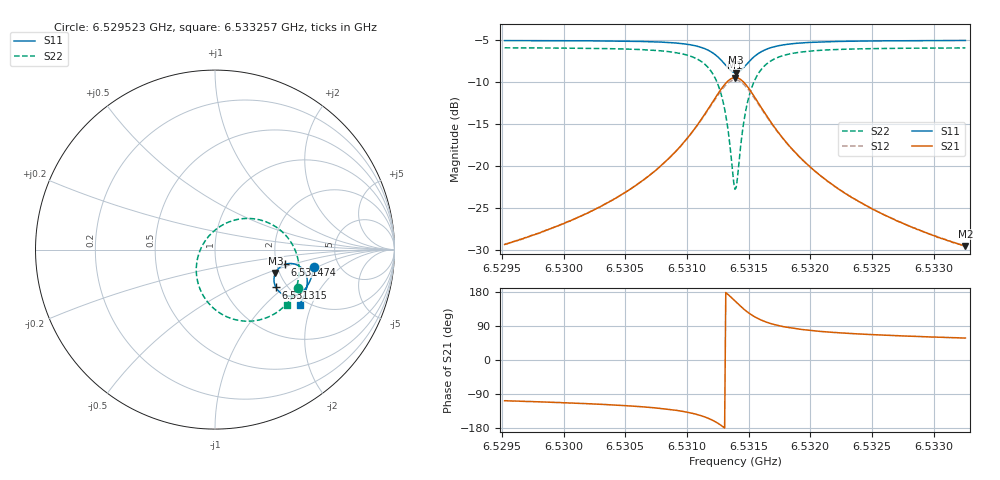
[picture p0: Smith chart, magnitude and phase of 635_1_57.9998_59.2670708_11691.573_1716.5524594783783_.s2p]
#  HZ  S  RI  R  50.00
! Rohde & Schwarz Vector Network Analyzer
! Rohde-Schwarz,ZNB20-2Port,1311601062101988,3.16
! Created: UTC 3/21/2024, 1:18:48 AM
! freq[Hz]  re:S11  im:S11  re:S21  im:S21  re:S12  im:S12  re:S22  im:S22
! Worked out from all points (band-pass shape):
!   401 points, 6.529523 GHz to 6.533257 GHz, reference 50 ohm
!   highest |S21| = -9.44 dB at 6.53139 GHz (marker M1); lowest = -29.5 dB at 6.533257 GHz (marker M2)
!   |S21| within 3 dB of the highest: 6.531205 GHz to 6.531578 GHz (373.2 kHz wide, 0.00571 % of centre)
!   lowest |S11| = -8.8 dB at 6.531399 GHz (marker M3), VSWR 2.13, Z = 95.2 - j28.5 ohm
!   |S11| at or under -10 dB: nowhere
!   |S22| runs from -22.8 to -5.9 dB; largest |S21 - S12| = 0.014
!   S11 on the Smith chart (normalised r, x): 6.529523 GHz: 3.27, -0.91; 6.531315 GHz: 1.75, -0.88; 6.531474 GHz: 2.21, -0.43; 6.533257 GHz: 1.83, -1.64
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6.5295226e9  0.5523 -0.0957  -0.0103 -0.0325  -0.011 -0.0324  0.4608 -0.2135
6.5301481e9  0.5391 -0.1486  -0.0211 -0.046  -0.0223 -0.0456  0.425 -0.2723
6.5304935e9  0.5261 -0.1817  -0.035 -0.0597  -0.0367 -0.0588  0.3889 -0.3137
6.5307736e9  0.507 -0.2133  -0.0596 -0.078  -0.0618 -0.0762  0.3337 -0.3567
6.5309883e9  0.477 -0.2419  -0.1039 -0.0972  -0.1068 -0.0934  0.2446 -0.3922
6.5311564e9  0.4249 -0.2591  -0.185 -0.0998  -0.1869 -0.0918  0.0975 -0.3862
6.5312498e9  0.3751 -0.2472  -0.2617 -0.0622  -0.2591 -0.051  -0.0273 -0.3079
6.5312871e9  0.3532 -0.23  -0.2937 -0.0265  -0.2876 -0.0149  -0.0736 -0.2415
6.5313151e9  0.3394 -0.2106  -0.3122 0.011  -0.3035 0.0213  -0.0972 -0.1761
6.5313431e9  0.3304 -0.1859  -0.3218 0.0562  -0.3107 0.0646  -0.1042 -0.0997
6.5313711e9  0.3292 -0.1581  -0.3184 0.1058  -0.3055 0.1111  -0.0888 -0.0196
6.5313898e9  0.3332 -0.1393  -0.3078 0.1382  -0.2946 0.1413  -0.0656 0.0315
6.5313991e9  0.3368 -0.1302  -0.3002 0.1539  -0.287 0.1554  -0.0503 0.055
6.5314365e9  0.3592 -0.1001  -0.2567 0.2046  -0.2455 0.2024  0.03 0.1301
6.5314738e9  0.389 -0.0825  -0.2023 0.2335  -0.194 0.2292  0.1238 0.1679
6.5315392e9  0.4387 -0.0794  -0.1157 0.2382  -0.1117 0.2341  0.2688 0.1601
6.5316325e9  0.4829 -0.1029  -0.0405 0.2026  -0.0389 0.2004  0.3898 0.0842
6.5317726e9  0.508 -0.1423  0.00343 0.1483  0.00479 0.1474  0.4543 -0.0238
6.5320153e9  0.5141 -0.1893  0.0208 0.0942  0.022 0.0939  0.4679 -0.1341
6.5322954e9  0.5079 -0.2252  0.0226 0.0641  0.0236 0.0637  0.4556 -0.2023
6.5326408e9  0.4959 -0.2585  0.0209 0.0449  0.0217 0.0447  0.4359 -0.2529
6.533257e9  0.4712 -0.306  0.0176 0.0283  0.0183 0.0279  0.4008 -0.3107
